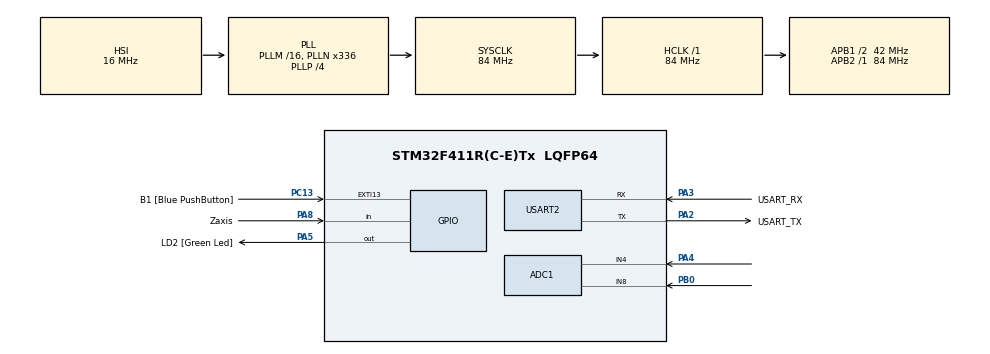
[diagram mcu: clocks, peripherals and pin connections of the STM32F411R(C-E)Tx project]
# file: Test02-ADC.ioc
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ADC1.Channel-1\#ChannelRegularConversion=ADC_CHANNEL_4
ADC1.Channel-2\#ChannelRegularConversion=ADC_CHANNEL_8
ADC1.DMAContinuousRequests=ENABLE
ADC1.DiscontinuousConvMode=ENABLE
ADC1.EOCSelection=ADC_EOC_SEQ_CONV
ADC1.ExternalTrigConv=ADC_EXTERNALTRIGCONV_T3_TRGO
ADC1.ExternalTrigConvEdge=ADC_EXTERNALTRIGCONVEDGE_FALLING
ADC1.NbrOfConversion=2
ADC1.NbrOfConversionFlag=1
ADC1.Rank-1\#ChannelRegularConversion=1
ADC1.Rank-2\#ChannelRegularConversion=2
ADC1.SamplingTime-1\#ChannelRegularConversion=ADC_SAMPLETIME_3CYCLES
ADC1.SamplingTime-2\#ChannelRegularConversion=ADC_SAMPLETIME_3CYCLES
ADC1.ScanConvMode=ENABLE
ADC1.master=1
Dma.ADC1.0.Direction=DMA_PERIPH_TO_MEMORY
Dma.ADC1.0.FIFOMode=DMA_FIFOMODE_DISABLE
Dma.ADC1.0.Instance=DMA2_Stream0
Dma.ADC1.0.MemDataAlignment=DMA_MDATAALIGN_HALFWORD
Dma.ADC1.0.MemInc=DMA_MINC_ENABLE
Dma.ADC1.0.Mode=DMA_CIRCULAR
Dma.ADC1.0.PeriphDataAlignment=DMA_PDATAALIGN_HALFWORD
Dma.ADC1.0.PeriphInc=DMA_PINC_DISABLE
Dma.ADC1.0.Priority=DMA_PRIORITY_LOW
Dma.Request0=ADC1
Mcu.Family=STM32F4
Mcu.Name=STM32F411R(C-E)Tx
Mcu.Package=LQFP64
NVIC.DMA2_Stream0_IRQn=true\:0\:0\:false\:false\:true\:false\:true\:true
NVIC.PriorityGroup=NVIC_PRIORITYGROUP_0
PA13.GPIO_Label=TMS
PA13.Mode=Serial_Wire
PA13.Signal=SYS_JTMS-SWDIO
PA14.GPIO_Label=TCK
PA14.Mode=Serial_Wire
PA14.Signal=SYS_JTCK-SWCLK
PA2.GPIO_Label=USART_TX
PA2.Mode=Asynchronous
PA2.Signal=USART2_TX
PA3.GPIO_Label=USART_RX
PA3.Mode=Asynchronous
PA3.Signal=USART2_RX
PA4.Signal=ADCx_IN4
PA5.GPIO_Label=LD2 [Green Led]
PA5.Signal=GPIO_Output
PA8.GPIO_Label=Zaxis
PA8.GPIO_PuPd=GPIO_PULLUP
PA8.Signal=GPIO_Input
PB0.Signal=ADCx_IN8
PB3.GPIO_Label=SWO
PB3.Signal=SYS_JTDO-SWO
PC13-ANTI_TAMP.GPIO_Label=B1 [Blue PushButton]
PC13-ANTI_TAMP.GPIO_ModeDefaultEXTI=GPIO_MODE_IT_FALLING
PC13-ANTI_TAMP.Signal=GPXTI13
PC14-OSC32_IN.Mode=LSE-External-Oscillator
PC14-OSC32_IN.Signal=RCC_OSC32_IN
PC15-OSC32_OUT.Mode=LSE-External-Oscillator
PC15-OSC32_OUT.Signal=RCC_OSC32_OUT
PH0\ -\ OSC_IN.Mode=HSE-External-Clock-Source
PH0\ -\ OSC_IN.Signal=RCC_OSC_IN
PH1\ -\ OSC_OUT.Mode=HSE-External-Clock-Source
PH1\ -\ OSC_OUT.Signal=RCC_OSC_OUT
ProjectManager.HeapSize=0x200
ProjectManager.StackSize=0x400
ProjectManager.TargetToolchain=STM32CubeIDE
RCC.48MHZClocksFreq_Value=84000000
RCC.AHBFreq_Value=84000000
RCC.APB1CLKDivider=RCC_HCLK_DIV2
RCC.APB1Freq_Value=42000000
RCC.APB1TimFreq_Value=84000000
RCC.APB2Freq_Value=84000000
RCC.APB2TimFreq_Value=84000000
RCC.CortexFreq_Value=84000000
RCC.FLatency-AdvancedSettings=FLASH_LATENCY_2
RCC.HCLKFreq_Value=84000000
RCC.HSE_VALUE=8000000
RCC.HSI_VALUE=16000000
RCC.PLLN=336
RCC.PLLP=RCC_PLLP_DIV4
RCC.SYSCLKFreq_VALUE=84000000
RCC.SYSCLKSource=RCC_SYSCLKSOURCE_PLLCLK
RCC.VCOOutputFreq_Value=336000000
SH.ADCx_IN4.0=ADC1_IN4,IN4
SH.ADCx_IN8.0=ADC1_IN8,IN8
TIM3.Period=5000-1
TIM3.Prescaler=8400-1
TIM3.TIM_MasterOutputTrigger=TIM_TRGO_UPDATE
USART2.VirtualMode=VM_ASYNC
VP_TIM3_VS_ClockSourceINT.Mode=Internal
board=NUCLEO-F411RE

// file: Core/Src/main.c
/* USER CODE BEGIN Header */
/**
  ******************************************************************************
  * @file           : main.c
  * @brief          : Main program body
  ******************************************************************************
  * @attention
  *
  * Copyright (c) 2023 STMicroelectronics.
  * All rights reserved.
  *
  * This software is licensed under terms that can be found in the LICENSE file
  * in the root directory of this software component.
  * If no LICENSE file comes with this software, it is provided AS-IS.
  *
  ******************************************************************************
  */
/* USER CODE END Header */
#include "main.h"

ADC_HandleTypeDef hadc1;
DMA_HandleTypeDef hdma_adc1;

TIM_HandleTypeDef htim3;

UART_HandleTypeDef huart2;

/* USER CODE BEGIN PV */
#include "../../../myLib/myLib.c"
/* USER CODE END PV */

void SystemClock_Config(void);
static void MX_GPIO_Init(void);
static void MX_DMA_Init(void);
static void MX_USART2_UART_Init(void);
static void MX_ADC1_Init(void);
static void MX_TIM3_Init(void);

/* USER CODE BEGIN 0 */
void myDelay(int ms)
{
	for(int j = 0;j < ms; j++)
		for(int i = 0 ; i < 1000; i++)
			noOp();
}

int GetAdcValue()
{
	HAL_ADC_Start(&hadc1);					// start sampling
	HAL_ADC_PollForConversion(&hadc1, 100); // wait
	int val = HAL_ADC_GetValue(&hadc1);		// Get
	return val;
}
short dValue[2];  //  char(1)  short(2)  int(4)   long(4)
int xValue = -1;
int yValue = -1;
int n = 0;
void noOp() {}
//void HAL_ADC_ConvCpltCallback(ADC_HandleTypeDef* hadc) // 1 time
//{
	//int Value = HAL_ADC_GetValue(&hadc1);		// Get
	//if(n == 0)	{ xValue = Value; n++; }
	//else
	//{
	//	yValue = Value; n = 0;
	//	printf("(intr)X Value : %d\r\n", xValue);
	//	printf("(intr)Y Value : %d\r\n", yValue);
	//	printf("(intr)Z Value : %d\r\n\n", HAL_GPIO_ReadPin(Zaxis_GPIO_Port,Zaxis_Pin));
	//}
	//myDelay(1000);
	//HAL_ADC_Start_IT(&hadc1);
//}
/* USER CODE END 0 */

int main(void)
{

  /* MCU Configuration--------------------------------------------------------*/

  /* Reset of all peripherals, Initializes the Flash interface and the Systick. */
  HAL_Init();

  /* Configure the system clock */
  SystemClock_Config();

  /* Initialize all configured peripherals */
  MX_GPIO_Init();
  MX_DMA_Init();
  MX_USART2_UART_Init();
  MX_ADC1_Init();
  MX_TIM3_Init();
  /* USER CODE BEGIN 2 */

  printf("\033[1J\033[1;1HProgram Restart....\r\n");

  HAL_TIM_Base_Start(&htim3);
  //HAL_ADC_Start_IT(&hadc1);
  HAL_ADC_Start_DMA(&hadc1, (int *)dValue, 2);
  printf("ADC DMA started....\r\n");
  /* USER CODE END 2 */

  /* Infinite loop */
  while (1)
  {

    /* USER CODE BEGIN 3 */
	printf("X Value : %d\r\n", dValue[0]);
	printf("Y Value : %d\r\n", dValue[1]);
	printf("Z Value : %d\r\n\n", HAL_GPIO_ReadPin(Zaxis_GPIO_Port,Zaxis_Pin));
	HAL_Delay(500);
  }
  /* USER CODE END 3 */
}

void SystemClock_Config(void)
{
  RCC_OscInitTypeDef RCC_OscInitStruct = {0};
  RCC_ClkInitTypeDef RCC_ClkInitStruct = {0};

  /** Configure the main internal regulator output voltage
  */
  __HAL_RCC_PWR_CLK_ENABLE();
  __HAL_PWR_VOLTAGESCALING_CONFIG(PWR_REGULATOR_VOLTAGE_SCALE1);

  /** Initializes the RCC Oscillators according to the specified parameters
  * in the RCC_OscInitTypeDef structure.
  */
  RCC_OscInitStruct.OscillatorType = RCC_OSCILLATORTYPE_HSI;
  RCC_OscInitStruct.HSIState = RCC_HSI_ON;
  RCC_OscInitStruct.HSICalibrationValue = RCC_HSICALIBRATION_DEFAULT;
  RCC_OscInitStruct.PLL.PLLState = RCC_PLL_ON;
  RCC_OscInitStruct.PLL.PLLSource = RCC_PLLSOURCE_HSI;
  RCC_OscInitStruct.PLL.PLLM = 16;
  RCC_OscInitStruct.PLL.PLLN = 336;
  RCC_OscInitStruct.PLL.PLLP = RCC_PLLP_DIV4;
  RCC_OscInitStruct.PLL.PLLQ = 4;
  if (HAL_RCC_OscConfig(&RCC_OscInitStruct) != HAL_OK)
  {
    Error_Handler();
  }

  /** Initializes the CPU, AHB and APB buses clocks
  */
  RCC_ClkInitStruct.ClockType = RCC_CLOCKTYPE_HCLK|RCC_CLOCKTYPE_SYSCLK
                              |RCC_CLOCKTYPE_PCLK1|RCC_CLOCKTYPE_PCLK2;
  RCC_ClkInitStruct.SYSCLKSource = RCC_SYSCLKSOURCE_PLLCLK;
  RCC_ClkInitStruct.AHBCLKDivider = RCC_SYSCLK_DIV1;
  RCC_ClkInitStruct.APB1CLKDivider = RCC_HCLK_DIV2;
  RCC_ClkInitStruct.APB2CLKDivider = RCC_HCLK_DIV1;

  if (HAL_RCC_ClockConfig(&RCC_ClkInitStruct, FLASH_LATENCY_2) != HAL_OK)
  {
    Error_Handler();
  }
}

static void MX_ADC1_Init(void)
{

  ADC_ChannelConfTypeDef sConfig = {0};

  /** Configure the global features of the ADC (Clock, Resolution, Data Alignment and number of conversion)
  */
  hadc1.Instance = ADC1;
  hadc1.Init.ClockPrescaler = ADC_CLOCK_SYNC_PCLK_DIV4;
  hadc1.Init.Resolution = ADC_RESOLUTION_12B;
  hadc1.Init.ScanConvMode = ENABLE;
  hadc1.Init.ContinuousConvMode = DISABLE;
  hadc1.Init.DiscontinuousConvMode = ENABLE;
  hadc1.Init.NbrOfDiscConversion = 1;
  hadc1.Init.ExternalTrigConvEdge = ADC_EXTERNALTRIGCONVEDGE_FALLING;
  hadc1.Init.ExternalTrigConv = ADC_EXTERNALTRIGCONV_T3_TRGO;
  hadc1.Init.DataAlign = ADC_DATAALIGN_RIGHT;
  hadc1.Init.NbrOfConversion = 2;
  hadc1.Init.DMAContinuousRequests = ENABLE;
  hadc1.Init.EOCSelection = ADC_EOC_SEQ_CONV;
  if (HAL_ADC_Init(&hadc1) != HAL_OK)
  {
    Error_Handler();
  }

  /** Configure for the selected ADC regular channel its corresponding rank in the sequencer and its sample time.
  */
  sConfig.Channel = ADC_CHANNEL_4;
  sConfig.Rank = 1;
  sConfig.SamplingTime = ADC_SAMPLETIME_3CYCLES;
  if (HAL_ADC_ConfigChannel(&hadc1, &sConfig) != HAL_OK)
  {
    Error_Handler();
  }

  /** Configure for the selected ADC regular channel its corresponding rank in the sequencer and its sample time.
  */
  sConfig.Channel = ADC_CHANNEL_8;
  sConfig.Rank = 2;
  if (HAL_ADC_ConfigChannel(&hadc1, &sConfig) != HAL_OK)
  {
    Error_Handler();
  }

}

static void MX_TIM3_Init(void)
{

  TIM_ClockConfigTypeDef sClockSourceConfig = {0};
  TIM_MasterConfigTypeDef sMasterConfig = {0};

  htim3.Instance = TIM3;
  htim3.Init.Prescaler = 8400-1;
  htim3.Init.CounterMode = TIM_COUNTERMODE_UP;
  htim3.Init.Period = 5000-1;
  htim3.Init.ClockDivision = TIM_CLOCKDIVISION_DIV1;
  htim3.Init.AutoReloadPreload = TIM_AUTORELOAD_PRELOAD_DISABLE;
  if (HAL_TIM_Base_Init(&htim3) != HAL_OK)
  {
    Error_Handler();
  }
  sClockSourceConfig.ClockSource = TIM_CLOCKSOURCE_INTERNAL;
  if (HAL_TIM_ConfigClockSource(&htim3, &sClockSourceConfig) != HAL_OK)
  {
    Error_Handler();
  }
  sMasterConfig.MasterOutputTrigger = TIM_TRGO_UPDATE;
  sMasterConfig.MasterSlaveMode = TIM_MASTERSLAVEMODE_DISABLE;
  if (HAL_TIMEx_MasterConfigSynchronization(&htim3, &sMasterConfig) != HAL_OK)
  {
    Error_Handler();
  }

}

static void MX_USART2_UART_Init(void)
{

  huart2.Instance = USART2;
  huart2.Init.BaudRate = 115200;
  huart2.Init.WordLength = UART_WORDLENGTH_8B;
  huart2.Init.StopBits = UART_STOPBITS_1;
  huart2.Init.Parity = UART_PARITY_NONE;
  huart2.Init.Mode = UART_MODE_TX_RX;
  huart2.Init.HwFlowCtl = UART_HWCONTROL_NONE;
  huart2.Init.OverSampling = UART_OVERSAMPLING_16;
  if (HAL_UART_Init(&huart2) != HAL_OK)
  {
    Error_Handler();
  }

}

static void MX_DMA_Init(void)
{

  /* DMA controller clock enable */
  __HAL_RCC_DMA2_CLK_ENABLE();

  /* DMA interrupt init */
  /* DMA2_Stream0_IRQn interrupt configuration */
  HAL_NVIC_SetPriority(DMA2_Stream0_IRQn, 0, 0);
  HAL_NVIC_EnableIRQ(DMA2_Stream0_IRQn);

}

static void MX_GPIO_Init(void)
{
  GPIO_InitTypeDef GPIO_InitStruct = {0};

  /* GPIO Ports Clock Enable */
  __HAL_RCC_GPIOC_CLK_ENABLE();
  __HAL_RCC_GPIOH_CLK_ENABLE();
  __HAL_RCC_GPIOA_CLK_ENABLE();
  __HAL_RCC_GPIOB_CLK_ENABLE();

  /*Configure GPIO pin Output Level */
  HAL_GPIO_WritePin(LD2_GPIO_Port, LD2_Pin, GPIO_PIN_RESET);

  /*Configure GPIO pin : B1_Pin */
  GPIO_InitStruct.Pin = B1_Pin;
  GPIO_InitStruct.Mode = GPIO_MODE_IT_FALLING;
  GPIO_InitStruct.Pull = GPIO_NOPULL;
  HAL_GPIO_Init(B1_GPIO_Port, &GPIO_InitStruct);

  /*Configure GPIO pin : LD2_Pin */
  GPIO_InitStruct.Pin = LD2_Pin;
  GPIO_InitStruct.Mode = GPIO_MODE_OUTPUT_PP;
  GPIO_InitStruct.Pull = GPIO_NOPULL;
  GPIO_InitStruct.Speed = GPIO_SPEED_FREQ_LOW;
  HAL_GPIO_Init(LD2_GPIO_Port, &GPIO_InitStruct);

  /*Configure GPIO pin : Zaxis_Pin */
  GPIO_InitStruct.Pin = Zaxis_Pin;
  GPIO_InitStruct.Mode = GPIO_MODE_INPUT;
  GPIO_InitStruct.Pull = GPIO_PULLUP;
  HAL_GPIO_Init(Zaxis_GPIO_Port, &GPIO_InitStruct);

}

void Error_Handler(void)
{
  __disable_irq();
  while (1)
  {
  }
}
